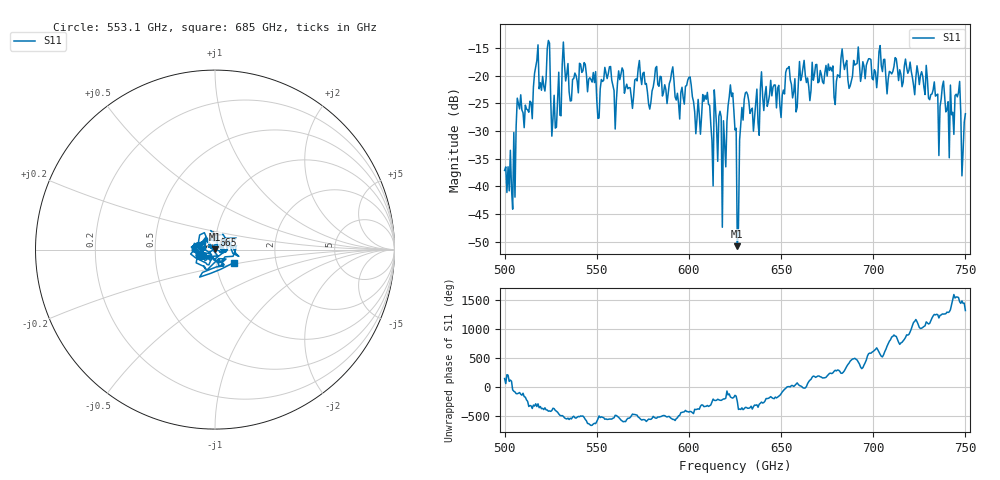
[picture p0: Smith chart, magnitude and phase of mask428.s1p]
!Created with skrf (http://scikit-rf.org).
# GHz S MA R 50.0
!freq magS11 angS11
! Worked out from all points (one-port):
!   401 points, 500 GHz to 750 GHz, reference 50 ohm
!   lowest |S11| = -50.8 dB at 626.2 GHz (marker M1), VSWR 1.01, Z = 49.9 + j0.26 ohm
!   |S11| at or under -10 dB: start of sweep to end of sweep
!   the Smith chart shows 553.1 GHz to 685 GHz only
!   S11 on the Smith chart (normalised r, x): 553.1 GHz: 0.84, -0.05; 665 GHz: 0.97, +0.16; 685 GHz: 1.22, -0.18
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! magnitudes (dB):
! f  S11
! 500 GHz  -37.1
! 504.4 GHz  -44.1
! 507.5 GHz  -25.1
! 513.8 GHz  -24.6
! 516.9 GHz  -18.4
! 523.8 GHz  -13.6
! 526.9 GHz  -23.5
! 531.2 GHz  -18.0
! 553.1 GHz  -21.0
! 562.5 GHz  -20.7
! 578.8 GHz  -26.0
! 590.6 GHz  -19.3
! 593.8 GHz  -23.2
! 605 GHz  -24.3
! 608.8 GHz  -23.5
! 619.4 GHz  -32.3
! 622.5 GHz  -21.6
! 625 GHz  -29.8
! 626.2 GHz  -50.8
! 631.2 GHz  -22.9
! 656.2 GHz  -24.0
! 665 GHz  -22.0
! 685 GHz  -17.9
! 687.5 GHz  -21.8
! 718.8 GHz  -19.5
! 742.5 GHz  -27.0
! 745.6 GHz  -23.8
! 750 GHz  -26.9
